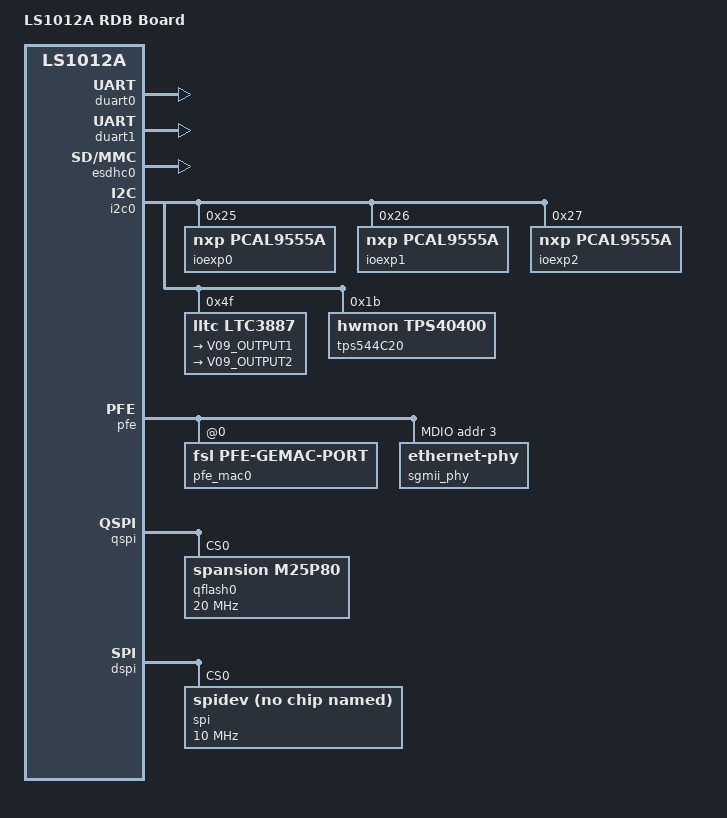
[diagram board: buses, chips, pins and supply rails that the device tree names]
// SPDX-License-Identifier: (GPL-2.0+ OR MIT)
/*
 * Device Tree file for Freescale LS1012A RDB Board.
 *
 * Copyright 2016 Freescale Semiconductor, Inc.
 * Copyright 2017-2018 NXP
 *
 */
/dts-v1/;

#include "fsl-ls1012a.dtsi"
#include <dt-bindings/net/ti-dp83867.h>

/ {
	model = "LS1012A RDB Board";
	compatible = "fsl,ls1012a-rdb", "fsl,ls1012a";

	aliases {
		ethernet0 = &pfe_mac0;
                spi0 = &qspi;
                spi1 = &dspi;

	};
};

&pcie {
	status = "disabled";
};

&duart0 {
	status = "okay";
};

&duart1 {
        status = "okay";
};


&esdhc0 {
/* Keep for future SD card optimizations
	sd-uhs-sdr104;
	sd-uhs-sdr50;
	sd-uhs-sdr25;
	sd-uhs-sdr12;
*/
	status = "okay";
};

&esdhc1 {
	mmc-hs200-1_8v;
	status = "disabled";
};

&i2c0 {
	status = "okay";
        ioexp0@25 {
                compatible = "nxp,pcal9555a";
                #address-cells = <0x1>;
                #size-cells = <0x0>;
                reg = <0x25>;
                gpio-controller;
                #gpio-cells = <0x2>;
                dma-names = "rx", "tx";
                gpio-line-names = "GPIO0", "GPIO1", "GPIO2", "GPIO3", "GPIO4", "GPIO5", "GPIO6", "GPIO7", "GPIO8", "GPIO9", "GPIO10", "GPIO11", "GPIO12", "GPIO13", "GPIO14", "GPIO15";
        };

        ioexp1@26 {
                compatible = "nxp,pcal9555a";
                #address-cells = <0x1>;
                #size-cells = <0x0>;
                reg = <0x26>;
                gpio-controller;
                #gpio-cells = <0x2>;
        };

        ioexp2@27 {
                compatible = "nxp,pcal9555a";
                #address-cells = <0x1>;
                #size-cells = <0x0>;
                reg = <0x27>;
                gpio-controller;
                #gpio-cells = <0x2>;
        };

        ltc3887@4f {
                compatible = "lltc,ltc3887";
                reg = <0x4f>;
                status = "okay";
                regulators {
                        vout0 {
                                regulator-name = "V09_OUTPUT1";
                        };

                        vout1 {
                                regulator-name = "V09_OUTPUT2";
                        };
                };
        };
       tps544C20@1b {
                compatible = "hwmon,tps40400";
                reg = <0x1b>;
                status = "okay";
        };

};

&sata {
	status = "disabled";
};

&pfe {
	status = "okay";
	#address-cells = <1>;
	#size-cells = <0>;

	pfe_mac0: ethernet@0 {
		compatible = "fsl,pfe-gemac-port";
		#address-cells = <1>;
		#size-cells = <0>;
		reg = <0x0>;	/* GEM_ID */
		fsl,mdio-mux-val = <0x0>;
		fsl,gemac-phy-id = <0x3>;
		phy-mode = "sgmii";
		phy-handle = <&sgmii_phy>;
	};

//	pfe_mac1: ethernet@1 {
//		compatible = "fsl,pfe-gemac-port";
//		#address-cells = <1>;
//		#size-cells = <0>;
//		reg = <0x1>;	/* GEM_ID */
//		fsl,pfe-phy-if-flags = <0x1>; /* Disable */
//		fsl,mdio-mux-val = <0x0>;
//		phy-mode = "rgmii-txid";
//		phy-handle = <&rgmii_phy>;
//	};


	mdio@0 {
		#address-cells = <1>;
		#size-cells = <0>;

		sgmii_phy: ethernet-phy@3 {
			reg = <0x3>;
			ti,rx-internal-delay = <0x8>;
			ti,tx-internal-delay = <0xa>;
			ti,fifo-depth = <DP83867_PHYCR_FIFO_DEPTH_4_B_NIB>;
			device_type = "ethernet-phy";
		};

//		rgmii_phy: ethernet-phy@1 {
//			reg = <0x1>;
//		};
	};
};

&qspi {
	status = "okay";
	qflash0: s25fs512s@0 {
		compatible = "spansion,m25p80";
		#address-cells = <1>;
		#size-cells = <1>;
		spi-max-frequency = <20000000>;
		m25p,fast-read;
		reg = <0>;
		spi-rx-bus-width = <1>;
		spi-tx-bus-width = <1>;
	};

};

&dspi {
        status = "okay";
	bus-num = <0>;
	pinctrl-names = "default";
	spi@0 {
		#address-cells = <1>;
		#size-cells = <1>;
                reg = <0x0>;
                spi-max-frequency = <10000000>;
                compatible = "linux,spidev";
                fsl,spi-cs-sck-delay = <100>;
                fsl,spi-sck-cs-delay = <50>;
                status = "okay";
        };
};
